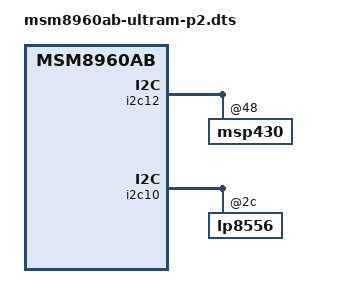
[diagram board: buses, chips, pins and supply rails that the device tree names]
/* Copyright (c) 2013 Motorola Mobility LLC. All rights reserved.
 *
 * This program is free software; you can redistribute it and/or modify
 * it under the terms of the GNU General Public License version 2 and
 * only version 2 as published by the Free Software Foundation.
 *
 * This program is distributed in the hope that it will be useful,
 * but WITHOUT ANY WARRANTY; without even the implied warranty of
 * MERCHANTABILITY or FITNESS FOR A PARTICULAR PURPOSE.  See the
 * GNU General Public License for more details.
 */

/dts-v1/;

/include/ "msm8960ab-ultram-common.dtsi"

/include/ "msm8960ab-ultram-p1-legacy.dtsi"

/ {
	mmi,revision = "p2";

	System@0 {
		I2C@4 {
			I2C,Board@3 {
				class = [4f56313038323000];
				gpio_dig_en = <0x000000a0>;
				gpio_pwd = <0x0000005f>;
				gpio_reset = <0x00000061>;
				is_asic_ver_r1b = <0x00000001>;
				is_seperate_dvdd = <0x00000001>;
				is_new_pk_dvdd = <0x00000001>;
				i2c,address = <0x00000036>;
				i2c,type = [6f76313038323000];
				type = <0x00290003>;
			};
		};

		Regulators@0 {
			RegulatorChip@0 {
				RegulatorChip@1 {
					class = [47656e65726963526567756c61746f7200];
					id = <0x0000000b>;
					type = <0x00000020>;

					ConsumerSupply@0 {
						dev_name = [342d3030333600];
						supply = [63616d5f706b5f6476646400];
					};
				};
			};
		};
	};
};

/* GSBI12 - I2C */
&i2c12 {
        msp430@48 {
                msp430_fw_version = "_obakem_p2";
        };
};

&i2c10 {
	lp8556@2c {
		ti,lp8556-dev-ctrl-config = <0x82>;
	};
};
